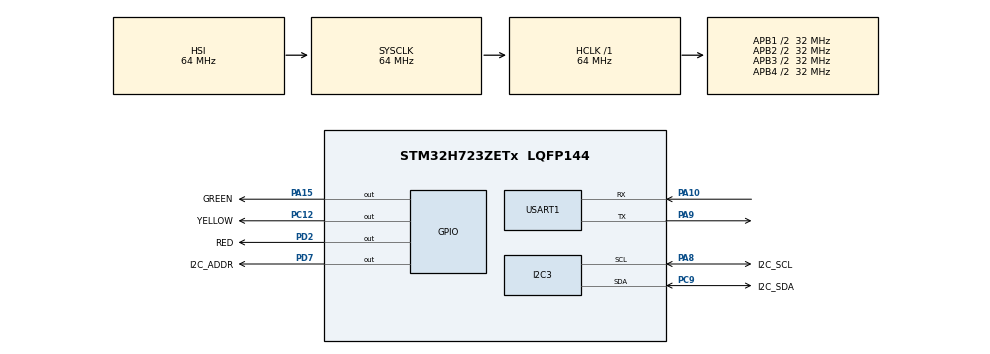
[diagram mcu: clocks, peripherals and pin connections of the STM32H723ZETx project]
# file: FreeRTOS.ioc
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FREERTOS.Tasks01=defaultTask,24,128,StartDefaultTask,Default,NULL,Dynamic,NULL,NULL
FREERTOS.configENABLE_FPU=1
FREERTOS.configMAX_TASK_NAME_LEN=32
FREERTOS.configTOTAL_HEAP_SIZE=131072
I2C3.Timing=0x00707CBB
Mcu.Family=STM32H7
Mcu.Name=STM32H723ZETx
Mcu.Package=LQFP144
NVIC.PriorityGroup=NVIC_PRIORITYGROUP_4
NVIC.TIM7_IRQn=true\:15\:0\:false\:false\:true\:false\:false\:true
NVIC.TimeBase=TIM7_IRQn
NVIC.TimeBaseIP=TIM7
NVIC.USART1_IRQn=true\:5\:0\:true\:false\:true\:true\:true\:true
PA10.Mode=Asynchronous
PA10.Signal=USART1_RX
PA15(JTDI).GPIO_Label=GREEN
PA15(JTDI).Signal=GPIO_Output
PA8.GPIO_Label=I2C_SCL
PA8.Mode=I2C
PA8.Signal=I2C3_SCL
PA9.Mode=Asynchronous
PA9.Signal=USART1_TX
PC12.GPIO_Label=YELLOW
PC12.Signal=GPIO_Output
PC9.GPIO_Label=I2C_SDA
PC9.Mode=I2C
PC9.Signal=I2C3_SDA
PD2.GPIO_Label=RED
PD2.Signal=GPIO_Output
PD7.GPIO_Label=I2C_ADDR
PD7.GPIO_PuPd=GPIO_PULLUP
PD7.GPIO_Speed=GPIO_SPEED_FREQ_HIGH
PD7.Signal=GPIO_Output
PE15.Signal=TIM1_BKIN
ProjectManager.HeapSize=0x400
ProjectManager.StackSize=0x800
ProjectManager.TargetToolchain=MDK-ARM V5.32
RCC.ADCFreq_Value=129000000
RCC.APB1Freq_Value=32000000
RCC.APB2Freq_Value=32000000
RCC.APB3Freq_Value=32000000
RCC.APB4Freq_Value=32000000
RCC.CortexFreq_Value=64000000
RCC.D1PPRE=RCC_APB3_DIV2
RCC.D2PPRE1=RCC_APB1_DIV2
RCC.D2PPRE2=RCC_APB2_DIV2
RCC.D3PPRE=RCC_APB4_DIV2
RCC.HCLKFreq_Value=64000000
RCC.SYSCLKFreq_VALUE=64000000
RCC.USBFreq_Value=129000000
TIM1.Prescaler=64-1
USART1.VirtualMode-Asynchronous=VM_ASYNC
VP_FREERTOS_VS_CMSIS_V2.Mode=CMSIS_V2
VP_SYS_VS_tim7.Mode=TIM7
VP_TIM1_VS_ClockSourceINT.Mode=Internal
board=custom

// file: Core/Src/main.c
/* USER CODE BEGIN Header */
/**
 ******************************************************************************
 * @file           : main.c
 * @brief          : Main program body
 ******************************************************************************
 * @attention
 *
 * Copyright (c) 2026 STMicroelectronics.
 * All rights reserved.
 *
 * This software is licensed under terms that can be found in the LICENSE file
 * in the root directory of this software component.
 * If no LICENSE file comes with this software, it is provided AS-IS.
 *
 ******************************************************************************
 */
/* USER CODE END Header */
#include "main.h"
#include "cmsis_os.h"
#include "i2c.h"
#include "tim.h"
#include "usart.h"
#include "gpio.h"

/* USER CODE BEGIN Includes */
#include "bh1750.h"
/* USER CODE END Includes */

void SystemClock_Config(void);
void MX_FREERTOS_Init(void);

int main(void)
{

    /* MCU Configuration--------------------------------------------------------*/

    /* Reset of all peripherals, Initializes the Flash interface and the Systick. */
    HAL_Init();

    /* Configure the system clock */
    SystemClock_Config();

    /* Initialize all configured peripherals */
    MX_GPIO_Init();
    MX_TIM1_Init();
    MX_USART1_UART_Init();
    MX_I2C3_Init();
    /* USER CODE BEGIN 2 */
    BH1750_Init();
    /* USER CODE END 2 */

    /* Init scheduler */
    osKernelInitialize(); /* Call init function for freertos objects (in freertos.c) */
    MX_FREERTOS_Init();
    /* Start scheduler */
    osKernelStart();

    /* We should never get here as control is now taken by the scheduler */
    /* Infinite loop */
    while (1)
    {

    }
}

void SystemClock_Config(void)
{
    RCC_OscInitTypeDef RCC_OscInitStruct = {0};
    RCC_ClkInitTypeDef RCC_ClkInitStruct = {0};

    /** Supply configuration update enable
     */
    HAL_PWREx_ConfigSupply(PWR_LDO_SUPPLY);
    /** Configure the main internal regulator output voltage
     */
    __HAL_PWR_VOLTAGESCALING_CONFIG(PWR_REGULATOR_VOLTAGE_SCALE3);

    while (!__HAL_PWR_GET_FLAG(PWR_FLAG_VOSRDY))
    {
    }
    /** Initializes the RCC Oscillators according to the specified parameters
     * in the RCC_OscInitTypeDef structure.
     */
    RCC_OscInitStruct.OscillatorType = RCC_OSCILLATORTYPE_HSI;
    RCC_OscInitStruct.HSIState = RCC_HSI_DIV1;
    RCC_OscInitStruct.HSICalibrationValue = RCC_HSICALIBRATION_DEFAULT;
    RCC_OscInitStruct.PLL.PLLState = RCC_PLL_NONE;
    if (HAL_RCC_OscConfig(&RCC_OscInitStruct) != HAL_OK)
    {
        Error_Handler();
    }
    /** Initializes the CPU, AHB and APB buses clocks
     */
    RCC_ClkInitStruct.ClockType = RCC_CLOCKTYPE_HCLK | RCC_CLOCKTYPE_SYSCLK | RCC_CLOCKTYPE_PCLK1 | RCC_CLOCKTYPE_PCLK2 | RCC_CLOCKTYPE_D3PCLK1 | RCC_CLOCKTYPE_D1PCLK1;
    RCC_ClkInitStruct.SYSCLKSource = RCC_SYSCLKSOURCE_HSI;
    RCC_ClkInitStruct.SYSCLKDivider = RCC_SYSCLK_DIV1;
    RCC_ClkInitStruct.AHBCLKDivider = RCC_HCLK_DIV1;
    RCC_ClkInitStruct.APB3CLKDivider = RCC_APB3_DIV2;
    RCC_ClkInitStruct.APB1CLKDivider = RCC_APB1_DIV2;
    RCC_ClkInitStruct.APB2CLKDivider = RCC_APB2_DIV2;
    RCC_ClkInitStruct.APB4CLKDivider = RCC_APB4_DIV2;

    if (HAL_RCC_ClockConfig(&RCC_ClkInitStruct, FLASH_LATENCY_1) != HAL_OK)
    {
        Error_Handler();
    }
}

void HAL_TIM_PeriodElapsedCallback(TIM_HandleTypeDef *htim)
{
    if (htim->Instance == TIM7)
    {
        HAL_IncTick();
    }
}

void Error_Handler(void)
{
    __disable_irq();
    while (1)
    {
    }
}

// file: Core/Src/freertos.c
/* USER CODE BEGIN Header */
/**
 ******************************************************************************
 * File Name          : freertos.c
 * Description        : Code for freertos applications
 ******************************************************************************
 * @attention
 *
 * Copyright (c) 2026 STMicroelectronics.
 * All rights reserved.
 *
 * This software is licensed under terms that can be found in the LICENSE file
 * in the root directory of this software component.
 * If no LICENSE file comes with this software, it is provided AS-IS.
 *
 ******************************************************************************
 */
/* USER CODE END Header */

#include "FreeRTOS.h"
#include "task.h"
#include "main.h"
#include "cmsis_os.h"
#include "bh1750.h"

/* USER CODE BEGIN PD */
// 软件定时器句柄
osTimerId_t TimerBH1750Handle;

// 任务句柄
osThreadId_t taskBH1750Handle;
osThreadId_t taskLedHandle;

// 队列句柄
osMessageQueueId_t lx_handle;

// // BH1750软件定时器回调函数
// void TimerBH1750Callback(void *argument)
// {
//     BH1750_get_lumen(&bh1750_dev);
// }

// 任务1
void Task_bh1750(void *argument)
{
    bh1750_dev_t *dev = (bh1750_dev_t *)argument;
    TickType_t xLastWake = xTaskGetTickCount();    // 记录当前时刻
    const TickType_t xPeriod = pdMS_TO_TICKS(500); // 周期500ms

    uint16_t lx = 0;

    while (1)
    {
        vTaskDelayUntil(&xLastWake, xPeriod); // 精确 500ms 周期
        BH1750_get_lumen(dev);
        if (osMessageQueuePut(lx_handle, &(dev->value), NULL, NULL) != osOK)
        {
            printf("QueuePut Failed\r\n");
        }
    }
}

// 任务2
void Task_led(void *argument)
{
    // bh1750_dev_t *dev = (bh1750_dev_t *)argument;
    uint16_t lx;
    uint16_t ret;

    while (1)
    {

        // printf("lumen:%d\r\n", dev->value);
        ret = osMessageQueueGet(lx_handle, &lx, NULL, osWaitForever);
        if (ret == osOK)
        {
            printf("lumen:%u\r\n", lx);
            if (lx < 3)
            {
                HAL_GPIO_WritePin(GREEN_GPIO_Port, GREEN_Pin, GPIO_PIN_SET);
                HAL_GPIO_WritePin(RED_GPIO_Port, RED_Pin, GPIO_PIN_SET);
                HAL_GPIO_WritePin(YELLOW_GPIO_Port, YELLOW_Pin, GPIO_PIN_SET);
            }
            else
            {
                HAL_GPIO_WritePin(GREEN_GPIO_Port, GREEN_Pin, GPIO_PIN_RESET);
                HAL_GPIO_WritePin(RED_GPIO_Port, RED_Pin, GPIO_PIN_RESET);
                HAL_GPIO_WritePin(YELLOW_GPIO_Port, YELLOW_Pin, GPIO_PIN_RESET);
            }
        }
        else
        {
            printf("QueueGet failed\r\n");
        }
        osDelay(pdMS_TO_TICKS(200));
    }
}
/* USER CODE END PD */

/* Definitions for defaultTask */
osThreadId_t defaultTaskHandle;
const osThreadAttr_t defaultTask_attributes = {
    .name = "defaultTask",
    .stack_size = 128 * 4,
    .priority = (osPriority_t)osPriorityNormal,
};

void StartDefaultTask(void *argument);

void MX_FREERTOS_Init(void); /* (MISRA C 2004 rule 8.1) */

void MX_FREERTOS_Init(void)
{

    /* USER CODE BEGIN RTOS_QUEUES */
    /* add queues, ... */
    lx_handle = osMessageQueueNew(4, sizeof(uint16_t), NULL);
    configASSERT(lx_handle != NULL);
    /* USER CODE END RTOS_QUEUES */

    /* Create the thread(s) */
    /* creation of defaultTask */
    defaultTaskHandle = osThreadNew(StartDefaultTask, NULL, &defaultTask_attributes);

    /* USER CODE BEGIN RTOS_THREADS */
    const osThreadAttr_t taskBH1750Attr = {
        .name = "TaskBH1750",
        .stack_size = 128 * 4,
        .priority = (osPriority_t)osPriorityAboveNormal,
    };
    taskBH1750Handle = osThreadNew(Task_bh1750, &bh1750_dev, &taskBH1750Attr);
    configASSERT(taskBH1750Handle != NULL);

    const osThreadAttr_t taskLedAttr = {
        .name = "TaskLED",
        .stack_size = 128 * 4,
        .priority = (osPriority_t)osPriorityNormal,
    };
    taskLedHandle = osThreadNew(Task_led, &bh1750_dev, &taskLedAttr);
    configASSERT(taskLedHandle != NULL);
    /* USER CODE END RTOS_THREADS */

}

void StartDefaultTask(void *argument)
{
    for (;;)
    {
        osDelay(1);
    }
}
